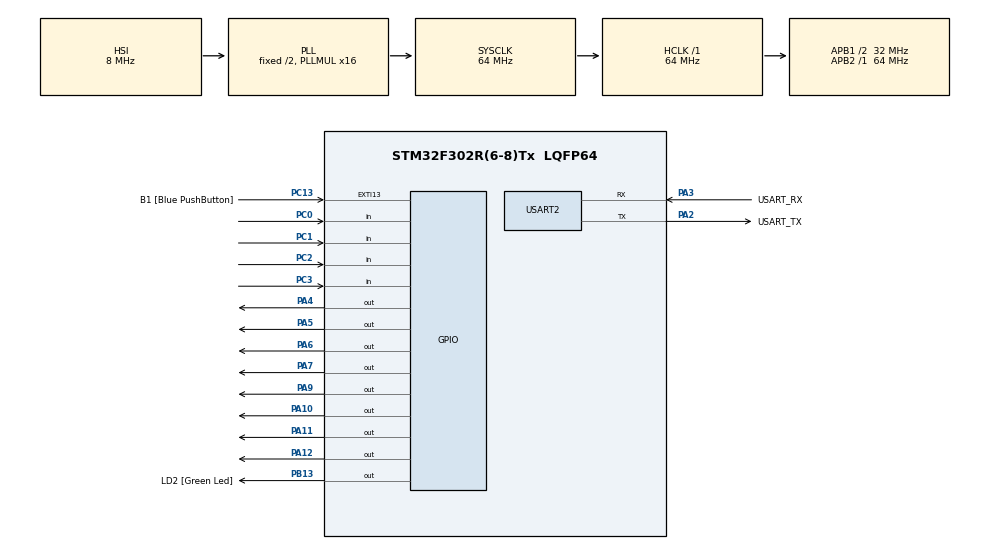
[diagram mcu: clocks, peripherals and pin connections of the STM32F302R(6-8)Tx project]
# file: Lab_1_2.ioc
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Mcu.Family=STM32F3
Mcu.Name=STM32F302R(6-8)Tx
Mcu.Package=LQFP64
NVIC.PriorityGroup=NVIC_PRIORITYGROUP_0
PA10.Signal=GPIO_Output
PA11.Signal=GPIO_Output
PA12.Signal=GPIO_Output
PA13.GPIO_Label=TMS
PA13.Mode=Serial_Wire
PA13.Signal=SYS_JTMS-SWDIO
PA14.GPIO_Label=TCK
PA14.Mode=Serial_Wire
PA14.Signal=SYS_JTCK-SWCLK
PA2.GPIO_Label=USART_TX
PA2.GPIO_Mode=GPIO_MODE_AF_PP
PA2.GPIO_PuPd=GPIO_NOPULL
PA2.GPIO_Speed=GPIO_SPEED_FREQ_LOW
PA2.Mode=Asynchronous
PA2.Signal=USART2_TX
PA3.GPIO_Label=USART_RX
PA3.GPIO_Mode=GPIO_MODE_AF_PP
PA3.GPIO_PuPd=GPIO_NOPULL
PA3.GPIO_Speed=GPIO_SPEED_FREQ_LOW
PA3.Mode=Asynchronous
PA3.Signal=USART2_RX
PA4.Signal=GPIO_Output
PA5.Signal=GPIO_Output
PA6.Signal=GPIO_Output
PA7.Signal=GPIO_Output
PA9.Signal=GPIO_Output
PB13.GPIO_Label=LD2 [Green Led]
PB13.Signal=GPIO_Output
PB3.GPIO_Label=SWO
PB3.Mode=Trace_Asynchronous_SW
PB3.Signal=SYS_JTDO-TRACESWO
PC0.GPIO_PuPd=GPIO_PULLUP
PC0.Signal=GPIO_Input
PC1.GPIO_PuPd=GPIO_PULLUP
PC1.Signal=GPIO_Input
PC13.GPIO_Label=B1 [Blue PushButton]
PC13.GPIO_ModeDefaultEXTI=GPIO_MODE_IT_FALLING
PC13.Signal=GPXTI13
PC14\ -\ OSC32_IN.Mode=LSE-External-Oscillator
PC14\ -\ OSC32_IN.Signal=RCC_OSC32_IN
PC15\ -\ OSC32_OUT.Mode=LSE-External-Oscillator
PC15\ -\ OSC32_OUT.Signal=RCC_OSC32_OUT
PC2.GPIO_PuPd=GPIO_PULLUP
PC2.Signal=GPIO_Input
PC3.GPIO_PuPd=GPIO_PULLUP
PC3.Signal=GPIO_Input
PF0-OSC_IN.Mode=HSE-External-Clock-Source
PF0-OSC_IN.Signal=RCC_OSC_IN
PF1-OSC_OUT.Signal=RCC_OSC_OUT
ProjectManager.HeapSize=0x200
ProjectManager.StackSize=0x400
ProjectManager.TargetToolchain=STM32CubeIDE
RCC.AHBFreq_Value=64000000
RCC.APB1CLKDivider=RCC_HCLK_DIV2
RCC.APB1Freq_Value=32000000
RCC.APB1TimFreq_Value=64000000
RCC.APB2Freq_Value=64000000
RCC.APB2TimFreq_Value=64000000
RCC.CortexFreq_Value=64000000
RCC.HCLKFreq_Value=64000000
RCC.HSE_VALUE=8000000
RCC.HSI_VALUE=8000000
RCC.PLLM=8
RCC.PLLMUL=RCC_PLL_MUL16
RCC.PLLN=336
RCC.PLLP=RCC_PLLP_DIV4
RCC.PLLQ=7
RCC.RCC_PLLsource_Clock_Source_FROM_HSE=RCC_HSE_PREDIV_DIV2
RCC.SYSCLKFreq_VALUE=64000000
RCC.SYSCLKSourceVirtual=RCC_SYSCLKSOURCE_PLLCLK
RCC.USBFreq_Value=64000000
USART2.VirtualMode-Asynchronous=VM_ASYNC
board=NUCLEO-F302R8

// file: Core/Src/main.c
/* USER CODE BEGIN Header */
/**
  ******************************************************************************
  * @file           : main.c
  * @brief          : Main program body
  ******************************************************************************
  * @attention
  *
  * <h2><center>&copy; Copyright (c) 2021 STMicroelectronics.
  * All rights reserved.</center></h2>
  *
  * This software component is licensed by ST under BSD 3-Clause license,
  * the "License"; You may not use this file except in compliance with the
  * License. You may obtain a copy of the License at:
  *                        opensource.org/licenses/BSD-3-Clause
  *
  ******************************************************************************
  */
/* USER CODE END Header */
#include "main.h"

UART_HandleTypeDef huart2;

void SystemClock_Config(void);
static void MX_GPIO_Init(void);
static void MX_USART2_UART_Init(void);

/* USER CODE BEGIN 0 */

//void kolumny_na_1(void)
//{
//	HAL_GPIO_WritePin(GPIOA, GPIO_PIN_4, GPIO_PIN_SET);
//	HAL_GPIO_WritePin(GPIOA, GPIO_PIN_5, GPIO_PIN_SET);
//	HAL_GPIO_WritePin(GPIOA, GPIO_PIN_6, GPIO_PIN_SET);
//	HAL_GPIO_WritePin(GPIOA, GPIO_PIN_7, GPIO_PIN_SET);
//}

void kolumna_1(void)
{
	HAL_GPIO_WritePin(GPIOA, GPIO_PIN_4, GPIO_PIN_RESET); 	// Ustaw kolumne 1 na 0
	HAL_GPIO_WritePin(GPIOA, GPIO_PIN_5, GPIO_PIN_SET); 	// Ustaw kolumne 2 na 1
	HAL_GPIO_WritePin(GPIOA, GPIO_PIN_6, GPIO_PIN_SET); 	// Ustaw kolumne 3 na 1
	HAL_GPIO_WritePin(GPIOA, GPIO_PIN_7, GPIO_PIN_SET); 	// Ustaw kolumne 4 na 1
}

void kolumna_2(void)
{
	HAL_GPIO_WritePin(GPIOA, GPIO_PIN_5, GPIO_PIN_RESET); 	// Ustaw kolumne 2 na 0
	HAL_GPIO_WritePin(GPIOA, GPIO_PIN_4, GPIO_PIN_SET); 	// Ustaw kolumne 1 na 1
	HAL_GPIO_WritePin(GPIOA, GPIO_PIN_6, GPIO_PIN_SET); 	// Ustaw kolumne 3 na 1
	HAL_GPIO_WritePin(GPIOA, GPIO_PIN_7, GPIO_PIN_SET); 	// Ustaw kolumne 4 na 1
}

void kolumna_3(void)
{
	HAL_GPIO_WritePin(GPIOA, GPIO_PIN_6, GPIO_PIN_RESET); 	// Ustaw kolumne 3 na 0
	HAL_GPIO_WritePin(GPIOA, GPIO_PIN_4, GPIO_PIN_SET); 	// Ustaw kolumne 1 na 1
	HAL_GPIO_WritePin(GPIOA, GPIO_PIN_5, GPIO_PIN_SET); 	// Ustaw kolumne 2 na 1
	HAL_GPIO_WritePin(GPIOA, GPIO_PIN_7, GPIO_PIN_SET); 	// Ustaw kolumne 4 na 1
}

uint8_t klawisz_wcisniety(void)
{
	if (HAL_GPIO_ReadPin(wcisniety_GPIO_PORT, wcisniety_GPIO_Pin) == 0)	    // Jeśli został wciśnięty przycisk
	{
		HAL_Delay(80);								  						// 80 ms opóźnienia
		if (HAL_GPIO_ReadPin(wcisniety_GPIO_PORT, wcisniety_GPIO_Pin) == 0) // klawisz nadal wciśnięty?
			return 1;							      						// Zwróć 1
	}

	return 0;									      						// Zwróć 0 jeśli klawisz tylko został wciśnięty
}

void zaswiec_1(void)
{
	HAL_GPIO_WritePin(GPIOA, GPIO_PIN_10, GPIO_PIN_RESET);
	HAL_GPIO_WritePin(GPIOA, GPIO_PIN_11, GPIO_PIN_RESET);
	HAL_GPIO_WritePin(GPIOA, GPIO_PIN_12, GPIO_PIN_RESET);
	HAL_GPIO_WritePin(GPIOA, GPIO_PIN_9, GPIO_PIN_SET); 	// Zaświeć 1
}

void zaswiec_2(void)
{
	HAL_GPIO_WritePin(GPIOA, GPIO_PIN_11, GPIO_PIN_RESET);
	HAL_GPIO_WritePin(GPIOA, GPIO_PIN_12, GPIO_PIN_RESET);
	HAL_GPIO_WritePin(GPIOA, GPIO_PIN_9, GPIO_PIN_RESET);
	HAL_GPIO_WritePin(GPIOA, GPIO_PIN_10, GPIO_PIN_SET);
}

void zaswiec_3(void)
{
	HAL_GPIO_WritePin(GPIOA, GPIO_PIN_12, GPIO_PIN_RESET);
	HAL_GPIO_WritePin(GPIOA, GPIO_PIN_9, GPIO_PIN_RESET);
	HAL_GPIO_WritePin(GPIOA, GPIO_PIN_10, GPIO_PIN_RESET);
	HAL_GPIO_WritePin(GPIOA, GPIO_PIN_11, GPIO_PIN_SET);
}

void zaswiec_4(void)
{
	HAL_GPIO_WritePin(GPIOA, GPIO_PIN_11, GPIO_PIN_RESET);
	HAL_GPIO_WritePin(GPIOA, GPIO_PIN_9, GPIO_PIN_RESET);
	HAL_GPIO_WritePin(GPIOA, GPIO_PIN_10, GPIO_PIN_RESET);
	HAL_GPIO_WritePin(GPIOA, GPIO_PIN_12, GPIO_PIN_SET);
}

// zwraca pozycje wcisnietego przycisku w kolumnie (domyslnie "0")
// odczytuje stany wierszy
int ktory_przycisk(void)
{
	return !HAL_GPIO_ReadPin(GPIOC, GPIO_PIN_0) * 1 +
			!HAL_GPIO_ReadPin(GPIOC, GPIO_PIN_1) * 2 +
			!HAL_GPIO_ReadPin(GPIOC, GPIO_PIN_2) * 3 +
			!HAL_GPIO_ReadPin(GPIOC, GPIO_PIN_3) * 4;
}

void zapal_diody(liczba_wcisniec)
{
	  if (liczba_wcisniec == 1)
	  {
		  zaswiec_1();
	  }
	  else if (liczba_wcisniec == 2)
	  {
		  zaswiec_2();
	  }
	  else if (liczba_wcisniec == 3)
	  {
		  HAL_GPIO_WritePin(GPIOA, GPIO_PIN_11, GPIO_PIN_RESET);
		  HAL_GPIO_WritePin(GPIOA, GPIO_PIN_12, GPIO_PIN_RESET);
		  HAL_GPIO_WritePin(GPIOA, GPIO_PIN_9, GPIO_PIN_SET);
		  HAL_GPIO_WritePin(GPIOA, GPIO_PIN_10, GPIO_PIN_SET);
	  }
	  else if (liczba_wcisniec == 4)
	  {
		  HAL_GPIO_WritePin(GPIOA, GPIO_PIN_12, GPIO_PIN_RESET);
		  HAL_GPIO_WritePin(GPIOA, GPIO_PIN_9, GPIO_PIN_RESET);
		  HAL_GPIO_WritePin(GPIOA, GPIO_PIN_10, GPIO_PIN_RESET);
		  HAL_GPIO_WritePin(GPIOA, GPIO_PIN_11, GPIO_PIN_SET);
	  }
	  else if (liczba_wcisniec == 5)
	  {
		  HAL_GPIO_WritePin(GPIOA, GPIO_PIN_12, GPIO_PIN_RESET);
		  HAL_GPIO_WritePin(GPIOA, GPIO_PIN_10, GPIO_PIN_RESET);
		  HAL_GPIO_WritePin(GPIOA, GPIO_PIN_9, GPIO_PIN_SET);
		  HAL_GPIO_WritePin(GPIOA, GPIO_PIN_11, GPIO_PIN_SET);
	  }
	  else if (liczba_wcisniec == 6)
	  {
		  HAL_GPIO_WritePin(GPIOA, GPIO_PIN_12, GPIO_PIN_RESET);
		  HAL_GPIO_WritePin(GPIOA, GPIO_PIN_9, GPIO_PIN_RESET);
		  HAL_GPIO_WritePin(GPIOA, GPIO_PIN_11, GPIO_PIN_SET);
		  HAL_GPIO_WritePin(GPIOA, GPIO_PIN_10, GPIO_PIN_SET);
	  }
	  else if (liczba_wcisniec == 7)
	  {
		  HAL_GPIO_WritePin(GPIOA, GPIO_PIN_12, GPIO_PIN_RESET);
		  HAL_GPIO_WritePin(GPIOA, GPIO_PIN_11, GPIO_PIN_SET);
		  HAL_GPIO_WritePin(GPIOA, GPIO_PIN_9, GPIO_PIN_SET);
		  HAL_GPIO_WritePin(GPIOA, GPIO_PIN_10, GPIO_PIN_SET);
	  }
	  else if (liczba_wcisniec == 8)
	  {
		  HAL_GPIO_WritePin(GPIOA, GPIO_PIN_11, GPIO_PIN_RESET);
		  HAL_GPIO_WritePin(GPIOA, GPIO_PIN_9, GPIO_PIN_RESET);
		  HAL_GPIO_WritePin(GPIOA, GPIO_PIN_10, GPIO_PIN_RESET);
		  HAL_GPIO_WritePin(GPIOA, GPIO_PIN_12, GPIO_PIN_SET);
	  }
	  else if (liczba_wcisniec == 9)
	  {
		  HAL_GPIO_WritePin(GPIOA, GPIO_PIN_11, GPIO_PIN_RESET);
		  HAL_GPIO_WritePin(GPIOA, GPIO_PIN_10, GPIO_PIN_RESET);
		  HAL_GPIO_WritePin(GPIOA, GPIO_PIN_12, GPIO_PIN_SET);
		  HAL_GPIO_WritePin(GPIOA, GPIO_PIN_9, GPIO_PIN_SET);
	  }
	  else if (liczba_wcisniec == 10)
	  {
		  HAL_GPIO_WritePin(GPIOA, GPIO_PIN_11, GPIO_PIN_RESET);
		  HAL_GPIO_WritePin(GPIOA, GPIO_PIN_9, GPIO_PIN_RESET);
		  HAL_GPIO_WritePin(GPIOA, GPIO_PIN_10, GPIO_PIN_SET);
		  HAL_GPIO_WritePin(GPIOA, GPIO_PIN_12, GPIO_PIN_SET);
	  }
	  else if (liczba_wcisniec == 11)
	  {
		  HAL_GPIO_WritePin(GPIOA, GPIO_PIN_11, GPIO_PIN_RESET);
		  HAL_GPIO_WritePin(GPIOA, GPIO_PIN_12, GPIO_PIN_SET);
		  HAL_GPIO_WritePin(GPIOA, GPIO_PIN_9, GPIO_PIN_SET);
		  HAL_GPIO_WritePin(GPIOA, GPIO_PIN_10, GPIO_PIN_SET);
	  }
	  else if (liczba_wcisniec == 12)
	  {
		  HAL_GPIO_WritePin(GPIOA, GPIO_PIN_9, GPIO_PIN_RESET);
		  HAL_GPIO_WritePin(GPIOA, GPIO_PIN_10, GPIO_PIN_RESET);
		  HAL_GPIO_WritePin(GPIOA, GPIO_PIN_11, GPIO_PIN_SET);
		  HAL_GPIO_WritePin(GPIOA, GPIO_PIN_12, GPIO_PIN_SET);
	  }
	  else if (liczba_wcisniec == 13)
	  {
		  HAL_GPIO_WritePin(GPIOA, GPIO_PIN_10, GPIO_PIN_RESET);
		  HAL_GPIO_WritePin(GPIOA, GPIO_PIN_11, GPIO_PIN_SET);
		  HAL_GPIO_WritePin(GPIOA, GPIO_PIN_12, GPIO_PIN_SET);
		  HAL_GPIO_WritePin(GPIOA, GPIO_PIN_9, GPIO_PIN_SET);
	  }
	  else if (liczba_wcisniec == 14)
	  {
		  HAL_GPIO_WritePin(GPIOA, GPIO_PIN_9, GPIO_PIN_RESET);
		  HAL_GPIO_WritePin(GPIOA, GPIO_PIN_11, GPIO_PIN_SET);
		  HAL_GPIO_WritePin(GPIOA, GPIO_PIN_12, GPIO_PIN_SET);
		  HAL_GPIO_WritePin(GPIOA, GPIO_PIN_10, GPIO_PIN_SET);
	  }
	  else if (liczba_wcisniec == 15)
	  {
		  HAL_GPIO_WritePin(GPIOA, GPIO_PIN_11, GPIO_PIN_SET);
		  HAL_GPIO_WritePin(GPIOA, GPIO_PIN_12, GPIO_PIN_SET);
		  HAL_GPIO_WritePin(GPIOA, GPIO_PIN_9, GPIO_PIN_SET);
		  HAL_GPIO_WritePin(GPIOA, GPIO_PIN_10, GPIO_PIN_SET);
	  }
}
/* USER CODE END 0 */

int main(void)
{

  /* MCU Configuration--------------------------------------------------------*/

  /* Reset of all peripherals, Initializes the Flash interface and the Systick. */
  HAL_Init();

  /* Configure the system clock */
  SystemClock_Config();

  /* Initialize all configured peripherals */
  MX_GPIO_Init();
  MX_USART2_UART_Init();
  /* USER CODE BEGIN 2 */

//  //  POCZ ZAD 1 ***************************************************************************
//  kolumna_1();
//  //	KONIEC ZAD 1 *************************************************************************

//  //  POCZ ZAD 2 ***************************************************************************
//  kolumna_3();
//  //  KONIEC ZAD 2 *************************************************************************

//  //  POCZ ZAD 3 ***************************************************************************
//  kolumna_2();
//  int liczba_wcisniec = 0;
//  //KONIEC ZAD 3 ***************************************************************************

//  //  POCZ ZAD 4 ***************************************************************************

  //stany_kolumn - tabela sekwencji stanow kolumn klawiatury
  const uint16_t stany_kolumn[] = {
  		  (GPIO_PIN_5 | GPIO_PIN_6 | GPIO_PIN_7),
  		  (GPIO_PIN_4 | GPIO_PIN_6 | GPIO_PIN_7),
  		  (GPIO_PIN_4 | GPIO_PIN_5 | GPIO_PIN_7),
  		  (GPIO_PIN_4 | GPIO_PIN_5 | GPIO_PIN_6)
  };

  int i = 0;
  int wartosc_przycisku = 0;

//  //  KONIEC ZAD 4 ***************************************************************************

  /* USER CODE END 2 */

  /* Infinite loop */
  /* USER CODE BEGIN WHILE */

  while (1)
  {

//// 	  POCZ ZAD 1 ***************************************************************************
////	  1) zapalenie diody LED po naciśnięciu SW1; zgaszenie jej po naciśnięciu SW5
//
//	  if (HAL_GPIO_ReadPin(GPIOC, GPIO_PIN_0) == 0) 		// PC0 - wiersz 1
//	  {
//		  HAL_GPIO_WritePin(LD2_GPIO_Port, LD2_Pin, GPIO_PIN_SET);
//	  }
//	  else if (HAL_GPIO_ReadPin(GPIOC, GPIO_PIN_1) == 0) 	// PB0 - wiersz 2
//	  {
//		  HAL_GPIO_WritePin(LD2_GPIO_Port, LD2_Pin, GPIO_PIN_RESET);
//	  }
//// 	  KONIEC ZAD 1 *************************************************************************

////      POCZ ZAD 2 ***************************************************************************
////	  2) zmiana stanu LED po naciśnięciu SW3 (należy uwzględnić drgania styków)

//	  if (HAL_GPIO_ReadPin(GPIOC, GPIO_PIN_0) == 0)
//	  {
//		  HAL_GPIO_TogglePin(LD2_GPIO_Port, LD2_Pin);
//	      HAL_Delay(40);
//	  	  while(klawisz_wcisniety())
//	  	  {
//
//	  	  }
//	  }
//// 	  KONIEC ZAD 2 *************************************************************************

////      POCZ ZAD 3 ***************************************************************************
////	  3) zliczanie naciśnięć SW2 (należy uwzględnić drgania styków). Wynik należy przedstawić binarnie na linijce diodowej
//
//	  if (HAL_GPIO_ReadPin(GPIOC, GPIO_PIN_0) == 0)
//	  {
//		  liczba_wcisniec++;
//	      HAL_Delay(40);
//	  	  while(klawisz_wcisniety())
//	  	  {
//
//	  	  }
//	  }
//
//	  zapal_diody(liczba_wcisniec);
//// 	    KONIEC ZAD 3 *************************************************************************

//// 	    POCZ ZAD 4 *************************************************************************

	    HAL_GPIO_WritePin(GPIOA, GPIO_PIN_4 | GPIO_PIN_5 | GPIO_PIN_6 | GPIO_PIN_7, 0); //wyzerowanie kolumn
	    HAL_GPIO_WritePin(GPIOA, stany_kolumn[i++], 1); //ustawienie sekwencji stanow (z tabeli stanow)
	    if(i > 4) i = 0;
	    int wiersz = ktory_przycisk(); //numer wcisnietego przycisku w sprawdzanej kolumnie

	    if(wiersz > 0) {
		HAL_Delay(40); //odczekanie, az wygasna drgania stykow
		wartosc_przycisku = (wiersz - 1) * 4 + i; //obliczenie wartosci wcisnietego przycisku
		zapal_diody(wartosc_przycisku);

		while ( ktory_przycisk() > 0); //oczekiwanie na puszczenie przycisku
		HAL_Delay(40); //odczekanie, az wygasna drgania stykow
	      }
	    else wartosc_przycisku = 0;

//// 	    KONIEC ZAD 4 *************************************************************************

    /* USER CODE END WHILE */

  }
}

void SystemClock_Config(void)
{
  RCC_OscInitTypeDef RCC_OscInitStruct = {0};
  RCC_ClkInitTypeDef RCC_ClkInitStruct = {0};

  /** Initializes the RCC Oscillators according to the specified parameters
  * in the RCC_OscInitTypeDef structure.
  */
  RCC_OscInitStruct.OscillatorType = RCC_OSCILLATORTYPE_HSI;
  RCC_OscInitStruct.HSIState = RCC_HSI_ON;
  RCC_OscInitStruct.HSICalibrationValue = RCC_HSICALIBRATION_DEFAULT;
  RCC_OscInitStruct.PLL.PLLState = RCC_PLL_ON;
  RCC_OscInitStruct.PLL.PLLSource = RCC_PLLSOURCE_HSI;
  RCC_OscInitStruct.PLL.PLLMUL = RCC_PLL_MUL16;
  if (HAL_RCC_OscConfig(&RCC_OscInitStruct) != HAL_OK)
  {
    Error_Handler();
  }
  /** Initializes the CPU, AHB and APB buses clocks
  */
  RCC_ClkInitStruct.ClockType = RCC_CLOCKTYPE_HCLK|RCC_CLOCKTYPE_SYSCLK
                              |RCC_CLOCKTYPE_PCLK1|RCC_CLOCKTYPE_PCLK2;
  RCC_ClkInitStruct.SYSCLKSource = RCC_SYSCLKSOURCE_PLLCLK;
  RCC_ClkInitStruct.AHBCLKDivider = RCC_SYSCLK_DIV1;
  RCC_ClkInitStruct.APB1CLKDivider = RCC_HCLK_DIV2;
  RCC_ClkInitStruct.APB2CLKDivider = RCC_HCLK_DIV1;

  if (HAL_RCC_ClockConfig(&RCC_ClkInitStruct, FLASH_LATENCY_2) != HAL_OK)
  {
    Error_Handler();
  }
}

static void MX_USART2_UART_Init(void)
{

  huart2.Instance = USART2;
  huart2.Init.BaudRate = 38400;
  huart2.Init.WordLength = UART_WORDLENGTH_8B;
  huart2.Init.StopBits = UART_STOPBITS_1;
  huart2.Init.Parity = UART_PARITY_NONE;
  huart2.Init.Mode = UART_MODE_TX_RX;
  huart2.Init.HwFlowCtl = UART_HWCONTROL_NONE;
  huart2.Init.OverSampling = UART_OVERSAMPLING_16;
  huart2.Init.OneBitSampling = UART_ONE_BIT_SAMPLE_DISABLE;
  huart2.AdvancedInit.AdvFeatureInit = UART_ADVFEATURE_NO_INIT;
  if (HAL_UART_Init(&huart2) != HAL_OK)
  {
    Error_Handler();
  }

}

static void MX_GPIO_Init(void)
{
  GPIO_InitTypeDef GPIO_InitStruct = {0};

  /* GPIO Ports Clock Enable */
  __HAL_RCC_GPIOC_CLK_ENABLE();
  __HAL_RCC_GPIOF_CLK_ENABLE();
  __HAL_RCC_GPIOA_CLK_ENABLE();
  __HAL_RCC_GPIOB_CLK_ENABLE();

  /*Configure GPIO pin Output Level */
  HAL_GPIO_WritePin(GPIOA, GPIO_PIN_4|GPIO_PIN_5|GPIO_PIN_6|GPIO_PIN_7
                          |GPIO_PIN_9|GPIO_PIN_10|GPIO_PIN_11|GPIO_PIN_12, GPIO_PIN_RESET);

  /*Configure GPIO pin Output Level */
  HAL_GPIO_WritePin(LD2_GPIO_Port, LD2_Pin, GPIO_PIN_RESET);

  /*Configure GPIO pin : B1_Pin */
  GPIO_InitStruct.Pin = B1_Pin;
  GPIO_InitStruct.Mode = GPIO_MODE_IT_FALLING;
  GPIO_InitStruct.Pull = GPIO_NOPULL;
  HAL_GPIO_Init(B1_GPIO_Port, &GPIO_InitStruct);

  /*Configure GPIO pins : PC0 PC1 PC2 PC3 */
  GPIO_InitStruct.Pin = GPIO_PIN_0|GPIO_PIN_1|GPIO_PIN_2|GPIO_PIN_3;
  GPIO_InitStruct.Mode = GPIO_MODE_INPUT;
  GPIO_InitStruct.Pull = GPIO_PULLUP;
  HAL_GPIO_Init(GPIOC, &GPIO_InitStruct);

  /*Configure GPIO pins : PA4 PA5 PA6 PA7
                           PA9 PA10 PA11 PA12 */
  GPIO_InitStruct.Pin = GPIO_PIN_4|GPIO_PIN_5|GPIO_PIN_6|GPIO_PIN_7
                          |GPIO_PIN_9|GPIO_PIN_10|GPIO_PIN_11|GPIO_PIN_12;
  GPIO_InitStruct.Mode = GPIO_MODE_OUTPUT_PP;
  GPIO_InitStruct.Pull = GPIO_NOPULL;
  GPIO_InitStruct.Speed = GPIO_SPEED_FREQ_LOW;
  HAL_GPIO_Init(GPIOA, &GPIO_InitStruct);

  /*Configure GPIO pin : LD2_Pin */
  GPIO_InitStruct.Pin = LD2_Pin;
  GPIO_InitStruct.Mode = GPIO_MODE_OUTPUT_PP;
  GPIO_InitStruct.Pull = GPIO_NOPULL;
  GPIO_InitStruct.Speed = GPIO_SPEED_FREQ_LOW;
  HAL_GPIO_Init(LD2_GPIO_Port, &GPIO_InitStruct);

}

void Error_Handler(void)
{
  __disable_irq();
  while (1)
  {
  }
}

/************************ (C) COPYRIGHT STMicroelectronics *****END OF FILE****/
